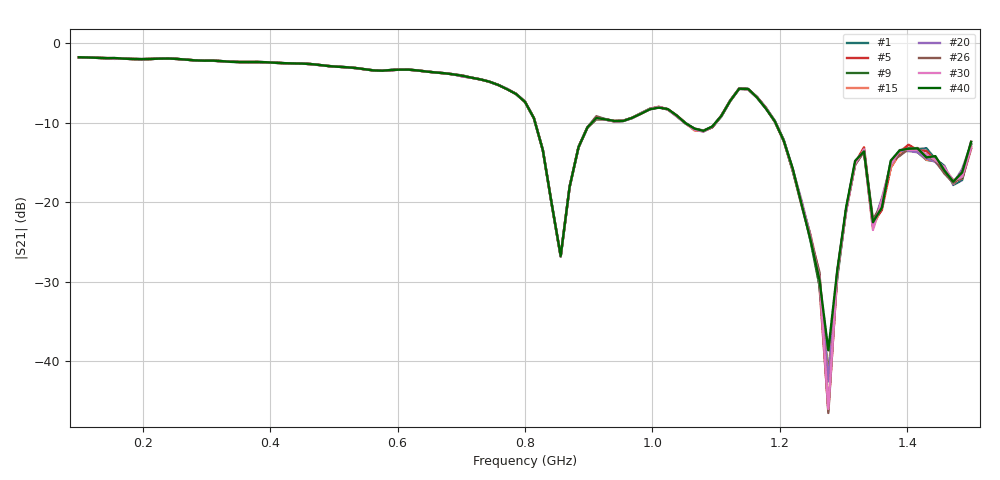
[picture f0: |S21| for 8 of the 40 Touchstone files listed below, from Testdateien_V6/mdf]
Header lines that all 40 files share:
! NanoVNA-App
! Start: 100MHz Stop: 1,5GHz Points: 101
! S-Parameter data: F S11 S21 S12 S22
# Hz S RI R 50
!  Frequency  S11_Real  S11_Imag  S21_Real  S21_Imag  S12_Real  S12_Imag  S22_Real  S22_Imag
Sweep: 100 MHz to 1.5 GHz
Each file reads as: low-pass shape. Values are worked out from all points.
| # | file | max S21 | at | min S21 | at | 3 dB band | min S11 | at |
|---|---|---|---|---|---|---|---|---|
| 1 | mdf (135).s2p | -1.79 dB | 100 MHz | -42.0 dB | 1.276 GHz | 100 MHz-730 MHz | -39.2 dB | 128 MHz |
| 2 | mdf (136).s2p | -1.79 dB | 100 MHz | -41.9 dB | 1.276 GHz | 100 MHz-730 MHz | -39.2 dB | 128 MHz |
| 3 | mdf (137).s2p | -1.79 dB | 100 MHz | -44.8 dB | 1.276 GHz | 100 MHz-730 MHz | -39.2 dB | 128 MHz |
| 4 | mdf (138).s2p | -1.79 dB | 100 MHz | -38.5 dB | 1.276 GHz | 100 MHz-730 MHz | -39.2 dB | 128 MHz |
| 5 | mdf (139).s2p | -1.79 dB | 100 MHz | -46.1 dB | 1.276 GHz | 100 MHz-730 MHz | -39.2 dB | 128 MHz |
| 6 | mdf (140).s2p | -1.79 dB | 100 MHz | -41.5 dB | 1.276 GHz | 100 MHz-730 MHz | -39.2 dB | 128 MHz |
| 7 | mdf (141).s2p | -1.79 dB | 100 MHz | -43.5 dB | 1.276 GHz | 100 MHz-730 MHz | -39.2 dB | 128 MHz |
| 8 | mdf (142).s2p | -1.79 dB | 100 MHz | -46.6 dB | 1.276 GHz | 100 MHz-730 MHz | -39.2 dB | 128 MHz |
| 9 | mdf (143).s2p | -1.79 dB | 100 MHz | -41.7 dB | 1.276 GHz | 100 MHz-730 MHz | -39.2 dB | 128 MHz |
| 10 | mdf (144).s2p | -1.79 dB | 100 MHz | -39.1 dB | 1.276 GHz | 100 MHz-730 MHz | -39.2 dB | 128 MHz |
| 11 | mdf (145).s2p | -1.79 dB | 100 MHz | -39.1 dB | 1.276 GHz | 100 MHz-730 MHz | -39.2 dB | 128 MHz |
| 12 | mdf (146).s2p | -1.79 dB | 100 MHz | -43.5 dB | 1.276 GHz | 100 MHz-730 MHz | -39.2 dB | 128 MHz |
| 13 | mdf (147).s2p | -1.79 dB | 100 MHz | -41.1 dB | 1.276 GHz | 100 MHz-730 MHz | -39.2 dB | 128 MHz |
| 14 | mdf (148).s2p | -1.79 dB | 100 MHz | -45.1 dB | 1.276 GHz | 100 MHz-730 MHz | -39.2 dB | 128 MHz |
| 15 | mdf (149).s2p | -1.79 dB | 100 MHz | -42.5 dB | 1.276 GHz | 100 MHz-730 MHz | -39.2 dB | 128 MHz |
| 16 | mdf (150).s2p | -1.79 dB | 100 MHz | -48.8 dB | 1.276 GHz | 100 MHz-730 MHz | -39.2 dB | 128 MHz |
| 17 | mdf (151).s2p | -1.79 dB | 100 MHz | -40.4 dB | 1.276 GHz | 100 MHz-730 MHz | -39.3 dB | 128 MHz |
| 18 | mdf (152).s2p | -1.79 dB | 100 MHz | -42.1 dB | 1.276 GHz | 100 MHz-730 MHz | -39.2 dB | 128 MHz |
| 19 | mdf (153).s2p | -1.79 dB | 100 MHz | -39.6 dB | 1.276 GHz | 100 MHz-730 MHz | -39.2 dB | 128 MHz |
| 20 | mdf (154).s2p | -1.79 dB | 100 MHz | -42.6 dB | 1.276 GHz | 100 MHz-730 MHz | -39.2 dB | 128 MHz |
| 21 | mdf (155).s2p | -1.79 dB | 100 MHz | -39.9 dB | 1.276 GHz | 100 MHz-730 MHz | -39.2 dB | 128 MHz |
| 22 | mdf (156).s2p | -1.79 dB | 100 MHz | -39.9 dB | 1.276 GHz | 100 MHz-730 MHz | -39.2 dB | 128 MHz |
| 23 | mdf (157).s2p | -1.79 dB | 100 MHz | -42.1 dB | 1.276 GHz | 100 MHz-730 MHz | -39.2 dB | 128 MHz |
| 24 | mdf (158).s2p | -1.79 dB | 100 MHz | -36.6 dB | 1.276 GHz | 100 MHz-730 MHz | -39.2 dB | 128 MHz |
| 25 | mdf (159).s2p | -1.79 dB | 100 MHz | -40.9 dB | 1.276 GHz | 100 MHz-730 MHz | -39.2 dB | 128 MHz |
| 26 | mdf (160).s2p | -1.79 dB | 100 MHz | -46.5 dB | 1.276 GHz | 100 MHz-730 MHz | -39.2 dB | 128 MHz |
| 27 | mdf (161).s2p | -1.79 dB | 100 MHz | -39.7 dB | 1.276 GHz | 100 MHz-730 MHz | -39.2 dB | 128 MHz |
| 28 | mdf (162).s2p | -1.79 dB | 100 MHz | -42.9 dB | 1.276 GHz | 100 MHz-730 MHz | -39.2 dB | 128 MHz |
| 29 | mdf (163).s2p | -1.79 dB | 100 MHz | -44.0 dB | 1.276 GHz | 100 MHz-730 MHz | -39.2 dB | 128 MHz |
| 30 | mdf (164).s2p | -1.79 dB | 100 MHz | -46.0 dB | 1.276 GHz | 100 MHz-730 MHz | -39.2 dB | 128 MHz |
| 31 | mdf (165).s2p | -1.79 dB | 100 MHz | -41.7 dB | 1.276 GHz | 100 MHz-730 MHz | -39.2 dB | 128 MHz |
| 32 | mdf (166).s2p | -1.79 dB | 100 MHz | -38.8 dB | 1.276 GHz | 100 MHz-730 MHz | -39.2 dB | 128 MHz |
| 33 | mdf (167).s2p | -1.79 dB | 100 MHz | -41.9 dB | 1.276 GHz | 100 MHz-730 MHz | -39.2 dB | 128 MHz |
| 34 | mdf (168).s2p | -1.79 dB | 100 MHz | -40.6 dB | 1.276 GHz | 100 MHz-730 MHz | -39.2 dB | 128 MHz |
| 35 | mdf (169).s2p | -1.79 dB | 100 MHz | -40.6 dB | 1.276 GHz | 100 MHz-730 MHz | -39.2 dB | 128 MHz |
| 36 | mdf (170).s2p | -1.79 dB | 100 MHz | -42.5 dB | 1.276 GHz | 100 MHz-730 MHz | -39.2 dB | 128 MHz |
| 37 | mdf (171).s2p | -1.79 dB | 100 MHz | -39.2 dB | 1.276 GHz | 100 MHz-730 MHz | -39.2 dB | 128 MHz |
| 38 | mdf (172).s2p | -1.79 dB | 100 MHz | -38.5 dB | 1.276 GHz | 100 MHz-730 MHz | -39.2 dB | 128 MHz |
| 39 | mdf (173).s2p | -1.79 dB | 100 MHz | -37.9 dB | 1.276 GHz | 100 MHz-730 MHz | -39.2 dB | 128 MHz |
| 40 | mdf (174).s2p | -1.79 dB | 100 MHz | -38.6 dB | 1.276 GHz | 100 MHz-730 MHz | -39.2 dB | 128 MHz |
